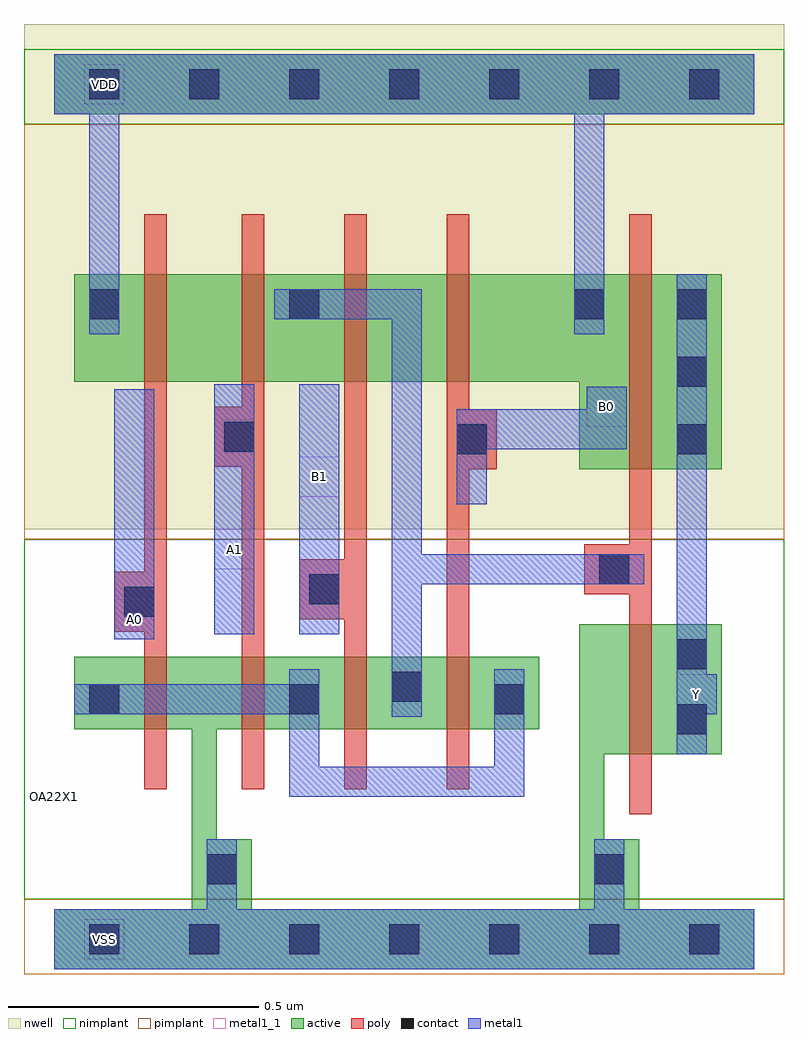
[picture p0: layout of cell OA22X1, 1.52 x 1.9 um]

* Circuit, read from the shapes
.subckt OA22X1 A0 A1 B0 B1 VDD VSS Y
M1 VSS A0 n1 VSS nfet w=0.145u l=0.045u
M2 n1 A1 VSS VSS nfet w=0.145u l=0.045u
M3 n2 B1 n1 VSS nfet w=0.145u l=0.045u
M4 n1 B0 n2 VSS nfet w=0.145u l=0.045u
M5 Y n2 VSS VSS nfet w=0.26u l=0.045u
M6 n3 A0 VDD VDD pfet w=0.215u l=0.045u
M7 n2 A1 n3 VDD pfet w=0.215u l=0.045u
M8 n4 B1 n2 VDD pfet w=0.215u l=0.045u
M9 VDD B0 n4 VDD pfet w=0.215u l=0.045u
M10 Y n2 VDD VDD pfet w=0.39u l=0.045u
.ends

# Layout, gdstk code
import gdstk
lib = gdstk.Library(unit=1e-6, precision=5e-10)
def R(c, l, rs):  # rectangles x0, y0, x1, y1
    for r in rs: c.add(gdstk.rectangle(r[:2], r[2:], *l))
def A(c, l, x, y, w, h, nx, ny, dx, dy):  # array of equal rectangles
    R(c, l, [(x+i*dx, y+j*dy, x+i*dx+w, y+j*dy+h) for i in range(nx) for j in range(ny)])
def P(c, l, *ps):  # polygons
    for p in ps: c.add(gdstk.Polygon(p, *l))
active = (1, 0)
nwell = (2, 0)
poly = (3, 0)
nimplant = (4, 0)
pimplant = (5, 0)
contact = (6, 0)
metal1 = (7, 0)
metal1_1 = (7, 1)

oa22x1 = lib.new_cell('OA22X1')
R(oa22x1, active, [(0,1.65,1.4,1.77)])
P(oa22x1, active, [(0.04,1.33),(1.335,1.33),(1.335,0.94),(1.05,0.94),(1.05,1.115),(0.04,1.115)],
  [(1.4,0.06),(1.17,0.06),(1.17,0.2),(1.1,0.2),(1.1,0.37),(1.335,0.37),(1.335,0.63),(1.05,0.63),(1.05,0.06),(0.395,0.06),(0.395,0.2),(0.325,0.2),(0.325,0.42),(0.97,0.42),(0.97,0.565),(0.04,0.565),(0.04,0.42),(0.275,0.42),(0.275,0.06),(0,0.06),(0,-0.06),(1.4,-0.06)])
R(oa22x1, nwell, [(-0.06,0.82,1.46,1.83)])
P(oa22x1, poly, [(1.15,1.45),(1.195,1.45),(1.195,0.25),(1.15,0.25),(1.15,0.69),(1.06,0.69),(1.06,0.79),(1.15,0.79)],
  [(0.18,1.45),(0.225,1.45),(0.225,0.3),(0.18,0.3),(0.18,0.615),(0.12,0.615),(0.12,0.735),(0.18,0.735)],
  [(0.375,1.45),(0.42,1.45),(0.42,0.3),(0.375,0.3),(0.375,0.945),(0.32,0.945),(0.32,1.065),(0.375,1.065)],
  [(0.58,1.45),(0.625,1.45),(0.625,0.3),(0.58,0.3),(0.58,0.64),(0.49,0.64),(0.49,0.76),(0.58,0.76)],
  [(0.83,1.45),(0.785,1.45),(0.785,0.3),(0.83,0.3),(0.83,0.94),(0.885,0.94),(0.885,1.06),(0.83,1.06)])
R(oa22x1, nimplant, [(-0.06,0.08,1.46,0.8), (-0.06,1.63,1.46,1.78)])
R(oa22x1, pimplant, [(-0.06,-0.07,1.46,0.08), (-0.06,0.8,1.46,1.63)])
A(oa22x1, contact, 0.07, -0.03, 0.06, 0.06, 7, 2, 0.2, 1.71)
A(oa22x1, contact, 1.245, 0.97, 0.06, 0.06, 1, 3, 0, 0.135)
R(oa22x1, contact, [(0.305,0.11,0.365,0.17), (1.08,0.11,1.14,0.17), (1.245,0.41,1.305,0.47), (0.07,0.45,0.13,0.51), (0.47,0.45,0.53,0.51), (0.88,0.45,0.94,0.51), (0.675,0.475,0.735,0.535), (1.245,0.54,1.305,0.6), (0.14,0.645,0.2,0.705), (0.51,0.67,0.57,0.73), (1.09,0.71,1.15,0.77), (0.805,0.97,0.865,1.03), (0.34,0.975,0.4,1.035), (0.07,1.24,0.13,1.3), (0.47,1.24,0.53,1.3), (1.04,1.24,1.1,1.3)])
R(oa22x1, metal1, [(0.12,0.6,0.2,1.1), (0.32,0.61,0.4,1.11), (0.49,0.61,0.57,1.11)])
P(oa22x1, metal1, [(0,1.77),(1.4,1.77),(1.4,1.65),(1.1,1.65),(1.1,1.21),(1.04,1.21),(1.04,1.65),(0.13,1.65),(0.13,1.21),(0.07,1.21),(0.07,1.65),(0,1.65)],
  [(1.245,1.33),(1.305,1.33),(1.305,0.53),(1.325,0.53),(1.325,0.45),(1.305,0.45),(1.305,0.37),(1.245,0.37)],
  [(0.44,1.3),(0.735,1.3),(0.735,0.77),(1.18,0.77),(1.18,0.71),(0.735,0.71),(0.735,0.445),(0.675,0.445),(0.675,1.24),(0.44,1.24)],
  [(1.065,1.105),(1.145,1.105),(1.145,0.98),(0.865,0.98),(0.865,0.87),(0.805,0.87),(0.805,1.06),(1.065,1.06)],
  [(0.47,0.54),(0.53,0.54),(0.53,0.345),(0.88,0.345),(0.88,0.54),(0.94,0.54),(0.94,0.285),(0.47,0.285),(0.47,0.45),(0.04,0.45),(0.04,0.51),(0.47,0.51)],
  [(0.305,0.2),(0.365,0.2),(0.365,0.06),(1.08,0.06),(1.08,0.2),(1.14,0.2),(1.14,0.06),(1.4,0.06),(1.4,-0.06),(0,-0.06),(0,0.06),(0.305,0.06)])
R(oa22x1, metal1_1, [(0.06,-0.04,0.14,0.04), (1.245,0.45,1.325,0.53), (0.12,0.6,0.2,0.68), (0.32,0.74,0.4,0.82), (0.49,0.885,0.57,0.965), (1.065,1.025,1.145,1.105), (0.06,1.67,0.14,1.75)])
oa22x1.add(gdstk.Label('VSS', (0.1,0), layer=7, texttype=1))
oa22x1.add(gdstk.Label('Y', (1.285,0.49), layer=7, texttype=1))
oa22x1.add(gdstk.Label('B0', (1.105,1.065), layer=7, texttype=1))
oa22x1.add(gdstk.Label('A1', (0.36,0.78), layer=7, texttype=1))
oa22x1.add(gdstk.Label('A0', (0.16,0.64), layer=7, texttype=1))
oa22x1.add(gdstk.Label('B1', (0.53,0.925), layer=7, texttype=1))
oa22x1.add(gdstk.Label('VDD', (0.1,1.71), layer=7, texttype=1))
oa22x1.add(gdstk.Label('OA22X1', (0,0.285), layer=63, texttype=0))

lib.write_gds('OA22X1.gds')
